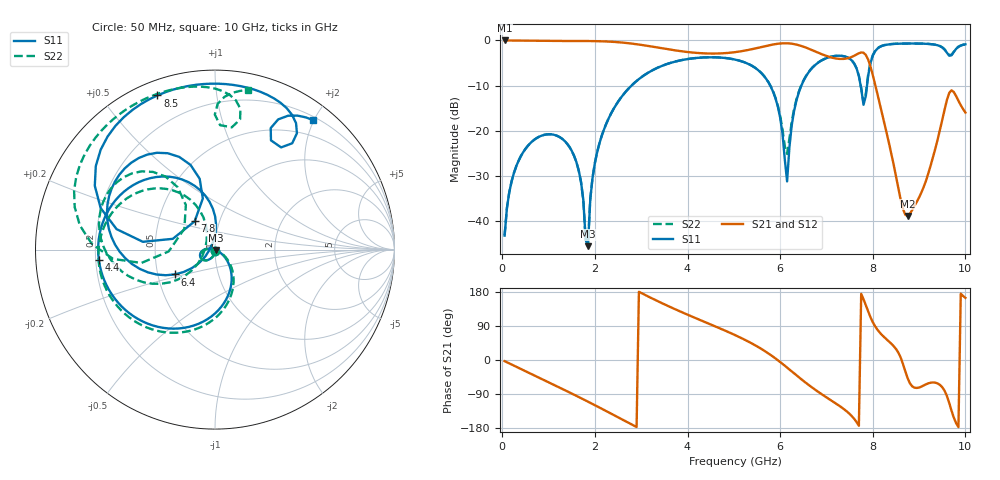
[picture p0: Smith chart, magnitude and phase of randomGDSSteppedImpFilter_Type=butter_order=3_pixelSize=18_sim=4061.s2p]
! freq	dB(S11)	phase(S11)	dB(S12)	phase(S12)
!  dB(S21)	phase(S21)	dB(S22)	phase(S22)
!S-par simulation data
#  GHz  S  DB  R 50
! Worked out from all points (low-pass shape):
!   200 points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, 50 MHz to 10 GHz, reference 50 ohm
!   highest |S21| = -0.01 dB at 50 MHz (marker M1); lowest = -38.9 dB at 8.75 GHz (marker M2)
!   |S21| within 3 dB of the highest: start of sweep to 6.889 GHz; 7.668 GHz to 7.829 GHz (160.6 MHz wide, 2.07 % of centre)
!   lowest |S11| = -45.5 dB at 1.85 GHz (marker M3), VSWR 1.01, Z = 50.5 - j0.249 ohm
!   |S11| at or under -10 dB: start of sweep to 2.79 GHz; 5.785 GHz to 6.458 GHz (673 MHz wide, 11 % of centre); 7.738 GHz to 7.876 GHz (137.9 MHz wide, 1.77 % of centre)
!   |S22| runs from -45.1 to -0.7 dB; largest |S21 - S12| = 0
!   S11 on the Smith chart (normalised r, x): 50 MHz: 1.00, -0.01; 4.4 GHz: 0.21, -0.04; 6.4 GHz: 0.61, -0.18; 7.8 GHz: 0.76, +0.25; 8.5 GHz: 0.06, +0.69; 10 GHz: 0.25, +1.99
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0.05  -43.21 -89.6  -0.01 -3.0  -0.01 -3.0  -43.14 -90.4
0.3  -27.90 -108.0  -0.03 -17.8  -0.03 -17.8  -27.89 -107.4
0.8  -21.29 -138.2  -0.09 -47.1  -0.09 -47.1  -21.30 -137.0
1.75  -35.35 165.7  -0.12 -103.7  -0.12 -103.7  -35.43 169.8
1.85  -45.54 -27.8  -0.13 -109.9  -0.13 -109.9  -45.12 -29.3
1.95  -30.33 -29.5  -0.14 -116.1  -0.14 -116.1  -30.25 -27.4
2.2  -19.60 -44.8  -0.21 -131.9  -0.21 -131.9  -19.58 -41.7
3.4  -5.84 -120.7  -1.65 152.7  -1.65 152.7  -5.83 -115.0
4.4  -3.75 -174.9  -2.88 98.9  -2.88 98.9  -3.74 -166.7
5.05  -4.30 150.3  -2.57 64.4  -2.57 64.4  -4.28 160.7
5.85  -11.42 96.6  -0.89 8.5  -0.89 8.5  -11.33 113.4
6.15  -31.21 171.1  -0.63 -19.9  -0.63 -19.9  -25.13 175.6
6.4  -11.60 -148.3  -1.05 -45.1  -1.05 -45.1  -11.43 -141.2
6.7  -6.00 -174.4  -2.19 -73.5  -2.19 -73.5  -5.95 -163.0
7.5  -4.03 120.9  -3.83 -142.3  -3.83 -142.3  -4.03 137.6
7.8  -14.24 125.7  -2.72 160.2  -2.72 160.2  -13.71 145.8
8.05  -2.40 152.0  -9.70 89.1  -9.70 89.1  -2.33 169.8
8.35  -0.88 120.6  -22.72 48.8  -22.72 48.8  -0.85 140.2
8.5  -0.75 110.5  -29.96 29.4  -29.96 29.4  -0.73 130.8
8.75  -0.68 96.4  -38.87 -47.1  -38.87 -47.1  -0.67 117.9
9.65  -3.38 57.1  -11.64 -112.9  -11.64 -112.9  -3.25 82.2
10  -0.87 52.8  -15.97 163.9  -15.97 163.9  -0.85 78.3
